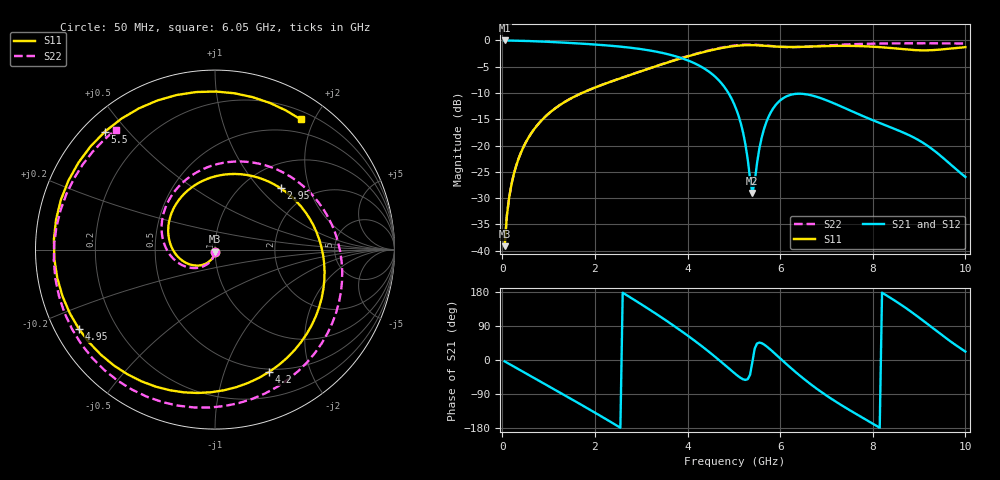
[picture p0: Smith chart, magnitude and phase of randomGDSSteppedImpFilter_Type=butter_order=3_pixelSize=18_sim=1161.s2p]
! freq	dB(S11)	phase(S11)	dB(S12)	phase(S12)
!  dB(S21)	phase(S21)	dB(S22)	phase(S22)
!S-par simulation data
#  GHz  S  DB  R 50
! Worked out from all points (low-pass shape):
!   200 points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, 50 MHz to 10 GHz, reference 50 ohm
!   highest |S21| = -0.01 dB at 50 MHz (marker M1); lowest = -29.0 dB at 5.4 GHz (marker M2)
!   |S21| within 3 dB of the highest: start of sweep to 3.739 GHz
!   lowest |S11| = -39.1 dB at 50 MHz (marker M3), VSWR 1.02, Z = 49.9 - j1.1 ohm
!   |S11| at or under -10 dB: start of sweep to 1.723 GHz
!   |S22| runs from -39.1 to -0.5 dB; largest |S21 - S12| = 0
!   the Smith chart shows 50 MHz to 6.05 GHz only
!   S11 on the Smith chart (normalised r, x): 50 MHz: 1.00, -0.02; 2.95 GHz: 1.45, +1.32; 4.2 GHz: 0.47, -1.43; 4.95 GHz: 0.07, -0.27; 5.5 GHz: 0.06, +0.43; 6.05 GHz: 0.31, +1.82
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0.05  -39.15 -92.1  -0.01 -3.5  -0.01 -3.5  -39.14 -91.6
0.2  -27.31 -104.7  -0.03 -13.9  -0.03 -13.9  -27.30 -102.6
0.5  -19.53 -127.6  -0.10 -34.6  -0.10 -34.6  -19.52 -122.3
1.15  -12.87 -176.5  -0.34 -79.5  -0.34 -79.5  -12.86 -163.9
1.75  -9.89 137.9  -0.63 -121.2  -0.63 -121.2  -9.88 158.2
2.35  -7.83 91.1  -1.02 -164.1  -1.02 -164.1  -7.81 119.2
2.95  -6.01 43.0  -1.60 151.0  -1.60 151.0  -5.98 77.6
3.4  -4.68 5.6  -2.27 115.4  -2.27 115.4  -4.65 43.9
4.2  -2.55 -66.2  -4.55 46.6  -4.55 46.6  -2.50 -22.8
4.6  -1.69 -107.8  -6.93 8.0  -6.93 8.0  -1.61 -60.7
4.95  -1.13 -149.8  -11.07 -28.3  -11.07 -28.3  -1.04 -97.6
5.05  -1.03 -163.0  -13.05 -38.5  -13.05 -38.5  -0.93 -108.9
5.4  -0.89 147.6  -29.00 -5.6  -29.00 -5.6  -0.81 -150.9
5.5  -0.92 133.0  -23.40 43.4  -23.40 43.4  -0.85 -163.3
6.05  -1.23 56.6  -11.08 -1.3  -11.08 -1.3  -1.23 129.6
6.7  -1.16 -14.5  -10.50 -67.6  -10.50 -67.6  -1.13 61.1
7.55  -1.05 -86.9  -13.48 -135.9  -13.48 -135.9  -0.72 -3.9
8.35  -1.41 -157.9  -16.42 166.4  -16.42 166.4  -0.57 -46.0
8.75  -1.74 155.7  -17.89 134.2  -17.89 134.2  -0.55 -62.8
9.2  -1.88 92.5  -20.15 93.2  -20.15 93.2  -0.55 -79.7
9.6  -1.61 37.3  -22.97 56.1  -22.97 56.1  -0.56 -93.6
10  -1.28 -6.4  -25.99 22.3  -25.99 22.3  -0.60 -107.0
